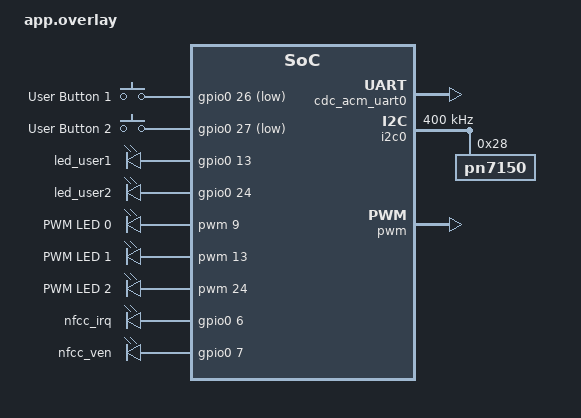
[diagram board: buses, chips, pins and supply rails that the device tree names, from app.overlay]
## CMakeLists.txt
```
cmake_minimum_required(VERSION 3.22)
set(BOARD rpi_pico)

find_package(Zephyr REQUIRED HINTS $ENV{ZEPHYR_BASE})
project(nci-zephyr)

target_include_directories(app PRIVATE src/)
target_sources(app PRIVATE src/main.cpp src/util.cpp src/nci.cpp src/example-nci.cpp src/dep.cpp src/iso-dep.cpp)
```

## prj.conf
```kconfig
CONFIG_CPP=y
CONFIG_GLIBCXX_LIBCPP=y

CONFIG_HEAP_MEM_POOL_SIZE=4096
#CONFIG_ISR_STACK_SIZE=4096

CONFIG_LOG=y
CONFIG_BOOT_BANNER=y
CONFIG_LOG_PRINTK=y
CONFIG_LOG_MODE_IMMEDIATE=y

CONFIG_SERIAL=y
CONFIG_CONSOLE=y
CONFIG_UART_CONSOLE=y
CONFIG_UART_LINE_CTRL=y
CONFIG_UART_INTERRUPT_DRIVEN=y
CONFIG_STDOUT_CONSOLE=y
CONFIG_USB_DRIVER_LOG_LEVEL_ERR=y
CONFIG_USB_DEVICE_LOG_LEVEL_ERR=y
CONFIG_USB_CDC_ACM=y
CONFIG_USB_DEVICE_INITIALIZE_AT_BOOT=n

CONFIG_GPIO=y
CONFIG_PWM=y
CONFIG_I2C=y
CONFIG_ASSERT=y
CONFIG_RING_BUFFER=y # <- going to maybe use this later

CONFIG_USB_DEVICE_VID=0x1337
CONFIG_USB_DEVICE_PID=0x37c3
CONFIG_USB_DEVICE_STACK=y
CONFIG_USB_DEVICE_PRODUCT="BornHack2023 Badge Reader"


CONFIG_BUILD_OUTPUT_UF2=y
#CONFIG_NO_OPTIMIZATIONS=y
CONFIG_DEBUG_OPTIMIZATIONS=y

CONFIG_USE_DT_CODE_PARTITION=y
CONFIG_RESET=y
```

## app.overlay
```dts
/ {
    chosen {
        zephyr,console = &cdc_acm_uart0;
    };

    gpio_keys {
        compatible = "gpio-keys";
        btn_user1: btn_user1 {
            label = "User Button 1";
            gpios = <&gpio0 26 (GPIO_ACTIVE_LOW | GPIO_PULL_UP)>;
        };
        btn_user2: btn_user2 {
            label = "User Button 2";
            gpios = <&gpio0 27 (GPIO_ACTIVE_LOW | GPIO_PULL_UP)>;
        };
    };

    gpio_leds {
        compatible = "gpio-leds";
        led_user1: led_user1 {
            gpios = <&gpio0 13 GPIO_ACTIVE_HIGH>;
        };
        led_user2: led_user2 {
            gpios = <&gpio0 24 GPIO_ACTIVE_HIGH>;
        };
    };
    
    pwm_leds {
		compatible = "pwm-leds";
		status = "okay";
		pwm_led0: pwm_led_0 {
	        status = "okay";
            label = "PWM LED 0";
			pwms = <&pwm 9 PWM_MSEC(20) PWM_POLARITY_NORMAL>;
		};
		pwm_led1: pwm_led_1 {
	        status = "okay";
            label = "PWM LED 1";
			pwms = <&pwm 13 PWM_MSEC(20) PWM_POLARITY_NORMAL>;
		};
		pwm_led2: pwm_led_2 {
	        status = "okay";
            label = "PWM LED 2";
			pwms = <&pwm 24 PWM_MSEC(20) PWM_POLARITY_NORMAL>;
		};
	};

    gpio_nfcc {
        compatible = "gpio-leds";
        nfcc_irq: nfcc_irq {
            gpios = <&gpio0 6 (GPIO_ACTIVE_HIGH | GPIO_PULL_DOWN)>;
        };
       
        nfcc_ven: nfcc_ven {
            gpios = <&gpio0 7 GPIO_ACTIVE_HIGH>;
        };
    };
};

&pwm_led0 {
    status = "okay";
};

&zephyr_udc0 {
    cdc_acm_uart0: cdc_acm_uart0 {
    	compatible = "zephyr,cdc-acm-uart";
        label = "CDC_ACM_0";
    };
};

&i2c0 {
    compatible = "raspberrypi,pico-i2c", "snps,designware-i2c";

    pinctrl-0 = <&i2c0_default>; 
	status = "okay";
    clock-frequency = <I2C_BITRATE_FAST>;

    pn7150: pn7150@28 {
        reg = <0x28>;
    };
};

&pwm {
	status = "okay";
	divider-frac-4 = <15>;
	divider-int-4 = <255>;
};

// found this on stack overflow, refers to somthing that sounds similar to my problem
&sram0 {
    /delete-property/ compatible ;
    /delete-property/ reg ;
    compatible = "zephyr,memory-region", "mmio-sram";
    zephyr,memory-region = "RAM_EXECUTABLE";
    zephyr,memory-region-mpu = "RAM";
    reg = < 0x20000000 0x10000 >; //Configure SRAM for MCUboot fixed for MPU
    // RAM size has to match with BOOTLOADER_SRAM_SIZE (see menuconfig)
};
```

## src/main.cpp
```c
#include <string.h>
#include <zephyr/device.h>
#include <zephyr/devicetree.h>
#include <zephyr/drivers/gpio.h>
#include <zephyr/drivers/i2c.h>
#include <zephyr/drivers/pwm.h>
#include <zephyr/drivers/uart.h>
#include <zephyr/kernel.h>
#include <zephyr/sys/util.h>
#include <zephyr/usb/usb_device.h>

#include "config.h"
#include "example-nci.hpp"
#include "util.hpp"

static const struct gpio_dt_spec btn_user1 = GPIO_DT_SPEC_GET(DT_NODELABEL(btn_user1), gpios);
static const struct gpio_dt_spec btn_user2 = GPIO_DT_SPEC_GET(DT_NODELABEL(btn_user2), gpios);

static const struct pwm_dt_spec pwm_led_user0 = PWM_DT_SPEC_GET(DT_NODELABEL(pwm_led0));
static const struct pwm_dt_spec pwm_led_user1 = PWM_DT_SPEC_GET(DT_NODELABEL(pwm_led1));
static const struct pwm_dt_spec pwm_led_user2 = PWM_DT_SPEC_GET(DT_NODELABEL(pwm_led2));

static const struct gpio_dt_spec led_user0 = GPIO_DT_SPEC_GET(DT_NODELABEL(led0), gpios);
static const struct gpio_dt_spec led_user1 = GPIO_DT_SPEC_GET(DT_NODELABEL(led_user1), gpios);
static const struct gpio_dt_spec led_user2 = GPIO_DT_SPEC_GET(DT_NODELABEL(led_user2), gpios);

static const struct gpio_dt_spec nfcc_ven = GPIO_DT_SPEC_GET(DT_NODELABEL(nfcc_ven), gpios);
static const struct gpio_dt_spec nfcc_irq = GPIO_DT_SPEC_GET(DT_NODELABEL(nfcc_irq), gpios);

static const struct device *i2c_dev = DEVICE_DT_GET(DT_NODELABEL(i2c0));
static const struct i2c_dt_spec pn7150_i2c = I2C_DT_SPEC_GET(DT_NODELABEL(pn7150));

static ExampleNci nci = ExampleNci(pn7150_i2c, nfcc_irq);

BUILD_ASSERT(DT_NODE_HAS_COMPAT(DT_CHOSEN(zephyr_console), zephyr_cdc_acm_uart), "Device is not ACM CDC UART device");

int serial_init() {
    /* Configure to set Console output to USB Serial */
    const struct device *usb_device = DEVICE_DT_GET(DT_CHOSEN(zephyr_console));
    uint32_t dtr = 0;

    /* Check if USB can be initialised, bails out if fail is returned */
    if (usb_enable(NULL) != 0) {
        return 1;
    }

    uart_line_ctrl_get(usb_device, UART_LINE_CTRL_DTR, &dtr);
#if WAIT_FOR_SERIAL
    // TODO for some reason, if I don't do this, during execution, stdout stops working and then, after a short moment, starts to work again, dropping some messages. No clue why... ._.
    while (!dtr) {
        uart_line_ctrl_get(usb_device, UART_LINE_CTRL_DTR, &dtr);
        k_msleep(100);
    }
#endif

    return 0;
}

void btn1_handler(const struct device *dev, struct gpio_callback *cb, uint32_t pins) {
    puts("User Button 1");
}

void btn2_handler(const struct device *dev, struct gpio_callback *cb, uint32_t pins) {
    puts("User Button 2");
}

void nfcc_irq_handler(const struct device *dev, struct gpio_callback *cb, uint32_t pins) {
    int irq_val = gpio_pin_get_dt(&nfcc_irq);

#if DEBUG_NFCC_IRQ
    printf("+++ IRQ=%i +++\n", irq_val);
#endif

    gpio_pin_set_dt(&led_user2, irq_val);
}

int main(void) {
    int ret = 0; // buffer for function return values

    ret = serial_init();
    if (ret != 0) {
        return ret;
    }

    // BEGIN Buttons

    ret = (!device_is_ready(btn_user1.port));
    if (ret) {
        puts("Could not get User Button 1.");
        return ret;
    } else {
        puts("Got User Button 1.");
    }

    ret = (!device_is_ready(btn_user2.port));
    if (ret) {
        puts("Could not get User Button 2.");
        return ret;
    } else {
        puts("Got User Button 2.");
    }

    ret = gpio_pin_configure_dt(&btn_user1, GPIO_INPUT | GPIO_PULL_UP);
    ret = gpio_pin_configure_dt(&btn_user2, GPIO_INPUT | GPIO_PULL_UP);
    // TODO handle errors here

    // END Buttons
    // BEGIN LEDs

    // ret = gpio_pin_configure(led_user0.port, led_user0.pin, GPIO_OUTPUT);
    ret = gpio_pin_configure(led_user1.port, led_user1.pin, GPIO_OUTPUT);
    ret = gpio_pin_configure(led_user2.port, led_user2.pin, GPIO_OUTPUT);
    // TODO handle errors here

    ret = (!device_is_ready(led_user0.port));
    if (ret) {
        puts("Could not get User LED 0.");
        return ret;
    } else {
        puts("Got User LED 0.");
    }

    ret = (!device_is_ready(led_user1.port));
    if (ret) {
        puts("Could not get User LED 1.");
        return ret;
    } else {
        puts("Got User LED 1.");
    }

    ret = (!device_is_ready(led_user2.port));
    if (ret) {
        puts("Could not get User LED 2.");
        return ret;
    } else {
        puts("Got User LED 2.");
    }

    if (!pwm_is_ready_dt(&pwm_led_user0)) {
        printf("Error: PWM device %s is not ready\n", pwm_led_user0.dev->name);
        return 0;
    } else {
        puts("Got User LED 0 PWM.");
    }
    if (!pwm_is_ready_dt(&pwm_led_user1)) {
        printf("Error: PWM device %s is not ready\n", pwm_led_user1.dev->name);
        return 0;
    } else {
        puts("Got User LED 1 PWM.");
    }

    if (!pwm_is_ready_dt(&pwm_led_user2)) {
        printf("Error: PWM device %s is not ready\n", pwm_led_user2.dev->name);
        return 0;
    } else {
        puts("Got User LED 2 PWM.");
    }

    // END LEDs
    // BEGIN NFCC flags

    ret = (!device_is_ready(nfcc_ven.port));
    if (ret) {
        puts("Could not get NFCC's VEN.");
        return ret;
    } else {
        puts("Got NFCC's VEN.");
    }

    ret = (!device_is_ready(nfcc_irq.port));
    if (ret) {
        puts("Could not get NFCC's IRQ.");
        return ret;
    } else {
        puts("Got NFCC's IRQ.");
    }

    ret = gpio_pin_configure(nfcc_ven.port, nfcc_ven.pin, GPIO_OUTPUT);
    if (ret) {
        printf("Could not configure NFCC's VEN (%i).\n", ret);
        return ret;
    } else {
        puts("Set NFCC's VEN config.");
    }

    ret = gpio_pin_configure(nfcc_irq.port, nfcc_irq.pin, GPIO_INPUT | GPIO_PULL_DOWN);
    if (ret) {
        printf("Could not configure NFCC's IRQ (%i).\n", ret);
        return ret;
    } else {
        puts("Set NFCC's IRQ config.");
    }

    ret = gpio_pin_set_dt(&nfcc_ven, 1);
    if (ret) {
        printf("Could not set NFCC's VEN (%i).\n", ret);
        return ret;
    } else {
        puts("Set NFCC's VEN to ACTIVE.");
    }
    k_msleep(200);

    // END NFCC flags
    // BEGIN GPIO Interrupts

    struct gpio_callback irq_cb;
    gpio_pin_interrupt_configure_dt(&nfcc_irq, GPIO_INT_EDGE_BOTH);
    gpio_init_callback(&irq_cb, nfcc_irq_handler, BIT(nfcc_irq.pin));
    gpio_add_callback(nfcc_irq.port, &irq_cb);

    struct gpio_callback btn1_cb;
    gpio_pin_interrupt_configure_dt(&btn_user1, GPIO_INT_EDGE_BOTH);
    gpio_init_callback(&btn1_cb, btn1_handler, BIT(btn_user1.pin));
    gpio_add_callback(btn_user1.port, &btn1_cb);

    struct gpio_callback btn2_cb;
    gpio_pin_interrupt_configure_dt(&btn_user2, GPIO_INT_EDGE_BOTH);
    gpio_init_callback(&btn2_cb, btn2_handler, BIT(btn_user2.pin));
    gpio_add_callback(btn_user2.port, &btn2_cb);

    // END GPIO Interrupts
    // BEGIN I2C setup

    ret = (i2c_dev == NULL || !device_is_ready(i2c_dev));
    if (ret) {
        puts("Could not get I2C controller device.");
        return ret;
    } else {
        puts("Got I2C controller device.");
    }

    puts("Got PN7150 dt spec.");

    ret = i2c_is_ready_dt(&pn7150_i2c);
    if (ret) {
        puts("i2c_is_ready: true");
    } else {
        puts("i2c_is_ready: false");
        return 1;
    }

    uint32_t i2c_cfg = I2C_SPEED_SET(I2C_SPEED_FAST) | I2C_MODE_CONTROLLER;
    uint32_t i2c_cfg_tmp = 0;

    ret = i2c_configure(i2c_dev, i2c_cfg);
    if (ret) {
        printf("i2c_configure failed: %i\n", ret);
    } else {
        puts("I2C config set successfully.");
    }

    ret = i2c_get_config(i2c_dev, &i2c_cfg_tmp);
    if (ret == -88) {
        puts("Config get not supported. (ENOSYS returned)");
    } else if (ret) {
        printf("Could not get controller config. (%i)", ret);
        return ret;
    } else {
        if (i2c_cfg_tmp != i2c_cfg) {
            printf("Config was not set correctly.");
            hexdump("\nretreived: ", (uint8_t *)&i2c_cfg_tmp, 4);
            hexdump("\nintended: ", (uint8_t *)&i2c_cfg, 4);
            puts("");
            return 1;
        }
    }
    // END I2C setup
    // yippie, working i2c!

    nci.nfcc_setup();

    // nci.nfca_nfc_dep_setup();
    nci.nfca_iso_dep_setup();
    // nci.nfcb_iso_dep_setup();

    // TODO adjust dynamically based on period from dt
    uint32_t pwm_min_pulse = PWM_NSEC(5000);
    uint32_t pwm_max_pulse = PWM_MSEC(1);
    bool dir = true;
    uint32_t pulse = pwm_min_pulse;

    while (true) {
        pwm_set_pulse_dt(&pwm_led_user0, pulse);
        pulse = dir ? pulse / 1.02 : pulse * 1.02;
        if ((dir && pulse < pwm_min_pulse) || (!dir && pulse > pwm_max_pulse)) {
            dir = !dir;
        }

        k_msleep(10);

        if (gpio_pin_get_dt(&nfcc_irq)) {
            nci.nci_read();
        }
    }

    return 0;
}
```

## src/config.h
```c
#pragma once
#define WAIT_FOR_SERIAL 1
#define DEBUG_NFCC_IRQ 0
#define DEBUG_NCI_HEXDUMP 1
#define DEBUG_NCI_ANALYSIS 1
```

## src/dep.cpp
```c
#include "nci.hpp"
#include "dep.hpp"

Dep::Dep(Nci *nci) : nci(nci) {}
Dep::~Dep() {}
```

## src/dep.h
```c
#pragma once
#include "nci.h"

class Dep {
  public:
    Dep(const Nci &nci);
    virtual ~Dep();

    virtual int handle_package(const uint8_t *buf, size_t buf_len);
  protected:
    const Nci &nci;
}
```

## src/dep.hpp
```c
#pragma once

#include "nci.hpp"

// Theoretically it could be nice to also abstract away transport here
// but honestly I don't know if that's maybe a bit too much...
class Nci;
class Dep {
  public:
    Dep(Nci *nci);
    virtual ~Dep();

    virtual int handle_apdu(const uint8_t *buf, size_t buf_len) const = 0;
  protected:
    Nci *nci;
};
```

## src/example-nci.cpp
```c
#include <stdint.h>
#include <zephyr/drivers/gpio.h>
#include <zephyr/drivers/i2c.h>

#include "config.h"
#include "example-nci.hpp"
#include "nci.hpp"
#include "util.hpp"

ExampleNci::ExampleNci(const struct i2c_dt_spec i2c, const struct gpio_dt_spec irq) : i2c(i2c), irq(irq) {}
ExampleNci::~ExampleNci() {}

int ExampleNci::transport_read() {
    return i2c_read_dt(&this->i2c, &this->read_buf[0], this->read_buf_len);
}

// TODO fragment on output limit exceeded
int ExampleNci::transport_write(const uint8_t *buf, size_t buf_len) {
    return i2c_write_dt(&this->i2c, buf, buf_len);
}

bool ExampleNci::transport_ready_to_read() {
    return gpio_pin_get_dt(&irq) != 0;
}

int ExampleNci::nfca_iso_dep_setup() {
    // RF_DISCOVER_MAP_CMD 4 bytes, 1 mapping, 0x04: PROTOCOL_ISO_DEP, 0b10: map RF interface in listen mode,
    // 0x02: ISO-DEP RF Interface
    // -- according to chapter 7 in user manual
    const uint8_t rf_discover_map_cmd[] = {RF_CMD, RF_DISCOVER_MAP, 4, 1, RF_PROTO_ISO_DEP,
                                           0x02,   RF_INTF_ISO_DEP}; // 0x02 -> listen mode -> [NCI Table 51]
    nci_write_read(rf_discover_map_cmd);
    //TODO handle response

    uint8_t nfca_core_config[]={
        CORE_CMD, CORE_SET_CONFIG, 0, // NOTE: packet length is set dynamically!
        8, //
        CFG_LA_BIT_FRAME_SDD , 0x01, 0x08, //
        CFG_LA_PLATFORM_CONFIG, 0x01, 0x03, //
        CFG_LA_SEL_INFO, 0x01, 0x60, //
        //CFG_LB_SENSB_INFO, 0x01, 0x01,
        CFG_LA_NFCID1,7,0x13,0x37,0xc3,0xac,0xc0,0xff,0xee, //
        CFG_LI_A_BIT_RATE, 0x01, 0x00, //
        CFG_LI_A_HIST_BY, 0x09, 0x4d, 0x54, 0x43, 0x4f, 0x53, 0x73, 0x02, 0x02, 0x04, // NOTE: Copied from an example card for testing purposes, optional
        CFG_RF_FIELD_INFO, 0x01, 0x01, //
        CFG_RF_NFCEE_ACTION , 0x01, 0x01, //
    };
    nfca_core_config[2] = sizeof(nfca_core_config) - 3;
    nci_write_read(nfca_core_config);
    
    uint8_t nfca_routing_table[] = {
        RF_CMD, RF_SET_LISTEN_MODE_ROUTING, 0, 0x00, // NOTE: packet length is set dynamically!
        1, //
        // 0x02,0x0a,0x00,0x3f,0x07,0xd2,0x76,0x00,0x00,0x85,0x01,0x01, // Route: DH, Power state: all on (NOTE not sure if that's sensible), AID: 0xD2760000850101 (which stands for mapping version 2.0 NDEF Tag application)
        0x01,3,0x00,0x3f, RF_PROTO_ISO_DEP, // Proto: ISO-DEP -> DH
        // 0x00,3,0x00,0x3f, NFC_RF_TECHNOLOGY_A, // Techno: NFC-A -> DH 
    };
    nfca_routing_table[2] = sizeof(nfca_routing_table) - 3;
    nci_write_read(nfca_routing_table);
    // TODO handle response

    const uint8_t nfca_rf_discover_cmd[] = {RF_CMD, RF_DISCOVER, 3, 1, NFC_A_PASSIVE_LISTEN_MODE, 0x01};
    nci_write_read(nfca_rf_discover_cmd);
    // TODO handle response
    
    return 0;
}

int ExampleNci::nfca_nfc_dep_setup() {
    const uint8_t rf_discover_map_cmd[] = {RF_CMD, RF_DISCOVER_MAP, 4, 1, RF_PROTO_NFC_DEP,
                                           0x02,   RF_INTF_NFC_DEP}; // 0x02 -> listen mode -> [NCI Table 51]
    nci_write_read(rf_discover_map_cmd);
    //TODO handle response

    uint8_t nfca_core_config[] = {
        CORE_CMD, CORE_SET_CONFIG, 0, // NOTE: packet length is set dynamically!
        9,                            // number of config entries
        CFG_LA_BIT_FRAME_SDD,1,0x00, // LA_BIT_FRAME_SDD - 4 Byte ID1, 00000b 
        CFG_LA_PLATFORM_CONFIG,1,0x0c, // LA_PLATFORM_CONFIG - RFU part set to 0, rest set to 1100b 
        // Still don't know what that does but seems to kinda work in ISO-DEP
        CFG_LA_SEL_INFO,1,0x60, // 
        CFG_LA_NFCID1,7,0x13,0x37,0xc3,0xac,0xc0,0xff,0xee, //
        CFG_LN_WT,1,10, //
        CFG_LN_ATR_RES_GEN_BYTES,0, //
        CFG_LN_ATR_RES_CONFIG,1,0x30, //
        CFG_RF_FIELD_INFO,1,0x01, //
        CFG_RF_NFCEE_ACTION,1,0x01, //
    };
    nfca_core_config[2] = sizeof(nfca_core_config) - 3;
    nci_write_read(nfca_core_config);
    // TODO handle response

    uint8_t nfca_routing_table[] = {
        RF_CMD, RF_SET_LISTEN_MODE_ROUTING, 0, 0x00, // NOTE: packet length is set dynamically!
        1,
        // 0x02,0x0a,0x00,0x3f,0x07,0xd2,0x76,0x00,0x00,0x85,0x01,0x01, // Route: DH, Power state: all on (NOTE not sure if that's sensible), AID: 0xD2760000850101 (which stands for mapping version 2.0 NDEF Tag application)
        0x01,0x03,0x00,0x3f,RF_PROTO_NFC_DEP, //
        //0x00,0x03,0x00,0x3f,NFC_RF_TECHNOLOGY_A, // Techno: NFC-A 
    };
    nfca_routing_table[2] = sizeof(nfca_routing_table) - 3;
    nci_write_read(nfca_routing_table);
    // TODO handle response

    const uint8_t nfca_rf_discover_cmd[] = {RF_CMD, RF_DISCOVER, 3, 1, NFC_A_PASSIVE_LISTEN_MODE, 0x01};
    nci_write_read(nfca_rf_discover_cmd);
    // TODO handle response
    
    return 0;
}

int ExampleNci::nfcb_iso_dep_setup() {
    // RF_DISCOVER_MAP_CMD 4 bytes, 1 mapping, 0x04: PROTOCOL_ISO_DEP, 0b10: map RF interface in listen mode,
    // 0x02: ISO-DEP RF Interface
    // -- according to chapter 7 in user manual
    const uint8_t rf_discover_map_cmd[] = {RF_CMD, RF_DISCOVER_MAP, 4, 1, RF_PROTO_ISO_DEP,
                                           0x02,   RF_INTF_ISO_DEP}; // 0x02 -> listen mode -> [NCI Table 51]
    nci_write_read(rf_discover_map_cmd);
    // TODO handle response

    uint8_t nfcb_core_config[] = {
        CORE_CMD, CORE_SET_CONFIG, 0, // NOTE: packet length is set dynamically!
        3,                            // number of config entries
        // CFG_LB_SENS_INFO, 0x01, 0x00, // LB_SENSB_INFO - no support for both
        CFG_LB_NFCID0, 4, 0x13, 0x37, 0x70, 0x07, // LB_NFCID0
        // CFG_LB_APPLICATION_DATA, 0x04, 0x00, 0x00, 0x00, 0x00, // LB_APPLICATION_DATA
        // CFG_LB_SFGI, 0x01, 0x00, // LB_SFGI - default value 0
        // CFG_LB_FWI_ADC_FO, 0x01, 0x05, // LB_FWI_ADC_FO - default value 0x05
        // CFG_LB_BIT_RATE, 1, NFC_BIT_RATE_6780,
        CFG_RF_FIELD_INFO,1,0x01, // for some reason I don't get data messages from my mobile with this enabled
        CFG_RF_NFCEE_ACTION,1,0x01,
    };
    nfcb_core_config[2] = sizeof(nfcb_core_config) - 3;
    nci_write_read(nfcb_core_config);
    // TODO handle response

    uint8_t nfcb_routing_table[] = {
        RF_CMD, RF_SET_LISTEN_MODE_ROUTING, 0, // NOTE: packet length is set dynamically!
        0x00,
        1, // number of table entries
        //0x02, 9, 0x00, 0x3f, 0xd2, 0x76, 0x00, 0x00, 0x85, 0x01, 0x01,
        // Route: DH, Power state: all on (NOTE not sure if that's sensible),
        // AID: 0xD2760000850101 (which stands for mapping version 2.0 NDEF Tag application)
        0x01, 3, 0x00, 0x3f, 0x04 // Proto: ISO-DEP
    };
    nfcb_routing_table[2] = sizeof(nfcb_routing_table) - 3;
    nci_write_read(nfcb_routing_table);
    // TODO handle response

    const uint8_t nfcb_rf_discover_cmd[] = {RF_CMD, RF_DISCOVER, 3, 1, NFC_B_PASSIVE_LISTEN_MODE, 0x01};
    nci_write_read(nfcb_rf_discover_cmd);
    // TODO handle response

    return 0;
}

int ExampleNci::nfcc_setup() {
    const uint8_t core_reset_cmd[] = {CORE_CMD, CORE_RESET, 1, 1}; // CORE_RESET_CMD(0x01), reset config
    nci_write_read(core_reset_cmd);
    // TODO handle response

    const uint8_t core_init_cmd[] = {CORE_CMD, 0x01, 0};
    nci_write_read(core_init_cmd);
    // TODO handle response

    const uint8_t prop_act_cmd[] = {MT_CMD | 0xf, 0x02, 0}; // gid 0x0f seems to be some proprietary thing I just stole from the micropython demo
    nci_write_read(prop_act_cmd);
    // TODO handle response
    return 0;
}
```

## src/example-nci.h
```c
#pragma once

#include "nci.h"

class ExampleNci : public Nci {
  public:
    ExampleNci(const struct i2c_dt_spec i2c, const struct gpio_dt_spec irq_gpio);
    ~ExampleNci();
    int nfca_iso_dep_setup();
    int nfca_nfc_dep_setup();
    int nfcb_iso_dep_setup();
    int nfcc_setup();

  private:
    const struct i2c_dt_spec i2c;
    const struct gpio_dt_spec irq;

    int transport_read();
    int transport_write(const uint8_t *buf, size_t buf_len);
    bool transport_ready_to_read();
};
```

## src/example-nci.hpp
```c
#pragma once

#include "nci.hpp"

class ExampleNci : public Nci {
  public:
    ExampleNci(const struct i2c_dt_spec i2c, const struct gpio_dt_spec irq_gpio);
    ~ExampleNci();
    int nfca_iso_dep_setup();
    int nfca_nfc_dep_setup();
    int nfcb_iso_dep_setup();
    int nfcc_setup();

  private:
    const struct i2c_dt_spec i2c;
    const struct gpio_dt_spec irq;

    int transport_read();
    int transport_write(const uint8_t *buf, size_t buf_len);
    bool transport_ready_to_read();
};
```

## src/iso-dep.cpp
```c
#include <string.h>
#include <zephyr/kernel.h>

#include "dep.hpp"
#include "iso-dep.hpp"
#include "util.hpp"

static const uint8_t AID_NDEF[] = {0xd2, 0x76, 0x00, 0x00, 0x85, 0x01, 0x01};
static const uint8_t FID_CC[] = {0xe1, 0x03};

IsoDep::IsoDep(Nci *nci) : Dep(nci) {}
IsoDep::~IsoDep() {}

// TODO / NOTE: Just blindly following t4top - there's probably huge potential for tag type specific abstraction
int IsoDep::handle_apdu(const uint8_t *buf, size_t buf_len) {
    // TODO / NOTE: assuming buf_len is in a valid range right now
    // TODO / NOTE: not supporting extended length fields.
    uint8_t cla = buf[0];
    uint8_t ins = buf[1];
    uint8_t p1 = buf[2];
    uint8_t p2 = buf[3];
    printf("CLA: 0x%02x, INS: 0x%02x, P1: 0x%02x, P2: 0x%02x\n", cla, ins, p1, p2);
    switch (cla) {
    case 0x00:
        switch (ins) {
        case APDU_INS_SELECT: {
            uint8_t lc = buf[4];
            const uint8_t *identifier = &buf[5];
            // TODO proper selection
            if (p2 == 0x00) {
                this->selected_application_len = lc;
                memcpy((void *)&selected_application, identifier, lc);
            } else if (p2 == 0x0c) {
                this->selected_ef_len = lc;
                memcpy((void *)&selected_ef, identifier, lc);
            }
            printf("SELECT (identifier=");
            hexdump(identifier, lc);
            printf(")\n");
            const uint8_t res[2] = {0x90, 0};
            this->nci->nci_send_data_msg(res, 2);
        } break; // TODO implement as specified (:
        case APDU_INS_READ_BINARY_b0: {
            // TODO / NOTE: AID currently ignored.
            uint16_t offset = (((uint16_t)p1) << 8) + p2; // TODO ignored right now
            uint8_t le = buf[4];
            printf("READ_BINARY (offset=%i; le=%i)\n", offset, le);
            if (this->selected_ef_len == 2 && memcmp(this->selected_ef, FID_CC, 2) == 0) {
                puts("[Capability container selected]");
                uint8_t res[17] = {
                    0x00, 0x0f, 0x20, 0x00, 0x3b, 0x00, 0x34, 0x04, 0x06,
                    0xe1, 0x04, 0x00, 0x32, 0x00, 0x00, 0x90, 0x00}; // NOTE: Example Capability Container
                                                                     // content from [T4TOP] Table 25
                this->nci->nci_send_data_msg(res, 17);
            } else {
                printf("[File selected: ");
                hexdump(this->selected_ef, this->selected_ef_len);
                puts("]");
                if (le == 2) {
                    uint8_t res[4] = {0x00, 0x20, 0x90, 0x00};
                    this->nci->nci_send_data_msg(res, 4);
                } else {
                    uint8_t res[34] = "\xd1\x01\x1c"
                                      "U\x04"
                                      "youtu.be/dQw4w9WgXcQ#      \x90";
                    this->nci->nci_send_data_msg(res, 34);
                }
            }
        } break; // TODO implement as specified 2.0 (:
        case APDU_INS_UPDATE_BINARY_d6: {
            uint16_t offset = (((uint16_t)p1) << 8) + p2; // TODO ignored right now
            uint8_t lc = buf[4];
            const uint8_t *data = &buf[5];
            printf("UPDATE_BINARY (offset=%i; lc=%i; data=", offset, lc);
            hexdump(data, lc);
            puts(")");
            const uint8_t res[2] = {0x90, 0};
            this->nci->nci_send_data_msg(res, 2);
        } break; // TODO implement as specified 3.0 ((:
        default:
            printf("Unsupported INS 0x%02x for CLA=0x%02x\n", ins, cla);
            uint8_t res[2] = {0x6d, 0};
            this->nci->nci_send_data_msg(res, 2);
            break;
        }
        break;
    case 0x90:
        switch (ins) {
        case 0x60: {
            puts("DESFire EV1 ID thingy I think");
            uint8_t res[9] = {1, 2, 3, 4, 5, 6, 7, 0x90, 0};
            this->nci->nci_send_data_msg(res, 9);
        } break;
        default:
            printf("Unsupported INS 0x%02x for CLA=0x%02x\n", ins, cla);
            uint8_t res[2] = {0x6d, 0};
            this->nci->nci_send_data_msg(res, 2);
            break;
        }
        break;
    default:
        printf("Unknown CLA=0x%02x", cla);
        uint8_t res[2] = {0x6e, 0};
        this->nci->nci_send_data_msg(res, 2);
        break;
    }
    return 0;
}
```

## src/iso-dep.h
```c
#pragma once
#include "dep.h"

// I feel like these defines are not really necessary for the most part but whatevs...
#define APDU_INS_DEACTIVATE_FILE 0x04
#define APDU_INS_DEACTIVATE_RECORD 0x06
#define APDU_INS_ACTIVATE_RECORD 0x08
#define APDU_INS_ERASE_RECORD 0x0c
#define APDU_INS_ERASE_BINARY_0e 0x0e
#define APDU_INS_ERASE_BINARY_0f 0x0f
#define APDU_INS_SCQL_OPERATIOIN 0x10
#define APDU_INS_TRANSACTION_OPERATION 0x12
#define APDU_INS_USER_OPERATION 0x14
#define APDU_INS_ADDITIONAL_DEVICE_MGMT_16 0x16
#define APDU_INS_ADDITIONAL_DEVICE_MGMT_17 0x17
#define APDU_INS_VERIFY_20 0x20
#define APDU_INS_VERIFY_21 0x21
#define APDU_INS_MANAGE_SECURITY_ENV 0x22
#define APDU_INS_CHANGE_REFERENCE_DATA_24 0x24
#define APDU_INS_CHANGE_REFERENCE_DATA_25 0x25
#define APDU_INS_DISABLE_VERIFICATION_REQUIREMENT 0x26
#define APDU_INS_ENABLE_VERIFICATION_REQUIREMENT 0x28
#define APDU_INS_SECURITY_OPERATION_2a 0x2a
#define APDU_INS_SECURITY_OPERATION_2b 0x2b
#define APDU_INS_RESET_RETRY_COUNTER_2c 0x2c
#define APDU_INS_RESET_RETRY_COUNTER_2d 0x2d
#define APDU_INS_BIOMETRIC_OPERATION_2e 0x2e
// biometric? whaat? TODO: read ISO/IEC 7816-11 about that
#define APDU_INS_BIOMETRIC_OPERATION_2f 0x2f
#define APDU_INS_COMPARE 0x33
#define APDU_INS_GET_ATTRIBUTE_34 0x34
#define APDU_INS_GET_ATTRIBUTE_35 0x35
#define APDU_INS_APPLICATION_MGMT_REQUEST_40 0x40
#define APDU_INS_APPLICATION_MGMT_REQUEST_41 0x41
#define APDU_INS_ACTIVATE_FILE 0x44
#define APDU_INS_GEN_ASYMMETRIC_KEY_PAIR_46 0x46
#define APDU_INS_GEN_ASYMMETRIC_KEY_PAIR_47 0x47
#define APDU_INS_IMPORT_CARD_SECRET 0x48
#define APDU_INS_MANAGE_CHANNEL 0x70
#define APDU_INS_EXT_AUTHENTICATE 0x82
#define APDU_INS_GET_CHALLENGE 0x84
#define APDU_INS_GENERAL_AUTH_86 0x86
#define APDU_INS_GENERAL_AUTH_87 0x87
#define APDU_INS_INTERNAL_AUTH 0x88
#define APDU_INS_SEARCH_BINARY_a0 0xa0
#define APDU_INS_SEARCH_BINARY_a1 0xa1
#define APDU_INS_SEARCH_RECORD 0xa2
#define APDU_INS_SELECT 0xa4
#define APDU_INS_SELECT_DATA 0xa5
#define APDU_INS_READ_BINARY_b0 0xb0
#define APDU_INS_READ_BINARY_b1 0xb1
#define APDU_INS_READ_RECORD_b2 0xb2
#define APDU_INS_READ_RECORD_b3 0xb3
#define APDU_INS_GET_RESPONSE 0xc0
#define APDU_INS_ENVELOPE_c2 0xc2
#define APDU_INS_ENVELOPE_c3 0xc3
#define APDU_INS_GET_DATA_ca 0xca
#define APDU_INS_GET_DATA_cb 0xcb
#define APDU_INS_GET_NEXT_DATA_cc 0xcc
#define APDU_INS_GET_NEXT_DATA_cd 0xcd
#define APDU_INS_MANAGE_DATA 0xcf
#define APDU_INS_WRITE_BINARY_d0 0xd0
#define APDU_INS_WRITE_BINARY_d1 0xd1
#define APDU_INS_WRITE_RECORD 0xd2
#define APDU_INS_UPDATE_BINARY_d6 0xd6 
#define APDU_INS_UPDATE_BINARY_d7 0xd7 
#define APDU_INS_PUT_NEXT_DATA_d8 0xd8
#define APDU_INS_PUT_NEXT_DATA_d9 0xd9
#define APDU_INS_PUT_DATA_da 0xda
#define APDU_INS_PUT_DATA_db 0xdb
#define APDU_INS_UPDATE_RECORD_dc 0xdc
#define APDU_INS_UPDATE_RECORD_dd 0xdd
#define APDU_INS_UPDATE_DATA_de 0xde
#define APDU_INS_UPDATE_DATA_df 0xdf
#define APDU_INS_CREATE_FILE 0xe0
#define APDU_INS_CREATE 0xe1
#define APDU_INS_APPEND_RECORD 0xe2
#define APDU_INS_DELETE_FILE 0xe4
#define APDU_INS_TERMINATE_DF 0xe6
#define APDU_INS_TERMINATE_EF 0xe8
#define APDU_INS_LOAD_APPLICATION_ea 0xea
#define APDU_INS_LOAD_APPLICATION_eb 0xeb
#define APDU_INS_DELETE_DATA 0xee
#define APDU_INS_REMOVE_APPLICATION_ec 0xec
#define APDU_INS_REMOVE_APPLICATION_ed 0xed
#define APDU_INS_TERMINATE_CARD_USAGE 0xfe

// Theoretically it could be nice to also abstract away transport here
// but honestly I don't know if that's maybe a bit too much...
class IsoDep : Dep {
  public:
    IsoDep(const Nci &nci);
    virtual ~IsoDep();

    int handle_package(const uint8_t *buf, size_t buf_len);
};
```

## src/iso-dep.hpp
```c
#pragma once
#include "dep.hpp"

// I feel like these defines are not really necessary for the most part but whatevs...
#define APDU_INS_DEACTIVATE_FILE 0x04
#define APDU_INS_DEACTIVATE_RECORD 0x06
#define APDU_INS_ACTIVATE_RECORD 0x08
#define APDU_INS_ERASE_RECORD 0x0c
#define APDU_INS_ERASE_BINARY_0e 0x0e
#define APDU_INS_ERASE_BINARY_0f 0x0f
#define APDU_INS_SCQL_OPERATIOIN 0x10
#define APDU_INS_TRANSACTION_OPERATION 0x12
#define APDU_INS_USER_OPERATION 0x14
#define APDU_INS_ADDITIONAL_DEVICE_MGMT_16 0x16
#define APDU_INS_ADDITIONAL_DEVICE_MGMT_17 0x17
#define APDU_INS_VERIFY_20 0x20
#define APDU_INS_VERIFY_21 0x21
#define APDU_INS_MANAGE_SECURITY_ENV 0x22
#define APDU_INS_CHANGE_REFERENCE_DATA_24 0x24
#define APDU_INS_CHANGE_REFERENCE_DATA_25 0x25
#define APDU_INS_DISABLE_VERIFICATION_REQUIREMENT 0x26
#define APDU_INS_ENABLE_VERIFICATION_REQUIREMENT 0x28
#define APDU_INS_SECURITY_OPERATION_2a 0x2a
#define APDU_INS_SECURITY_OPERATION_2b 0x2b
#define APDU_INS_RESET_RETRY_COUNTER_2c 0x2c
#define APDU_INS_RESET_RETRY_COUNTER_2d 0x2d
#define APDU_INS_BIOMETRIC_OPERATION_2e 0x2e
// biometric? whaat? TODO: read ISO/IEC 7816-11 about that
#define APDU_INS_BIOMETRIC_OPERATION_2f 0x2f
#define APDU_INS_COMPARE 0x33
#define APDU_INS_GET_ATTRIBUTE_34 0x34
#define APDU_INS_GET_ATTRIBUTE_35 0x35
#define APDU_INS_APPLICATION_MGMT_REQUEST_40 0x40
#define APDU_INS_APPLICATION_MGMT_REQUEST_41 0x41
#define APDU_INS_ACTIVATE_FILE 0x44
#define APDU_INS_GEN_ASYMMETRIC_KEY_PAIR_46 0x46
#define APDU_INS_GEN_ASYMMETRIC_KEY_PAIR_47 0x47
#define APDU_INS_IMPORT_CARD_SECRET 0x48
#define APDU_INS_MANAGE_CHANNEL 0x70
#define APDU_INS_EXT_AUTHENTICATE 0x82
#define APDU_INS_GET_CHALLENGE 0x84
#define APDU_INS_GENERAL_AUTH_86 0x86
#define APDU_INS_GENERAL_AUTH_87 0x87
#define APDU_INS_INTERNAL_AUTH 0x88
#define APDU_INS_SEARCH_BINARY_a0 0xa0
#define APDU_INS_SEARCH_BINARY_a1 0xa1
#define APDU_INS_SEARCH_RECORD 0xa2
#define APDU_INS_SELECT 0xa4
#define APDU_INS_SELECT_DATA 0xa5
#define APDU_INS_READ_BINARY_b0 0xb0
#define APDU_INS_READ_BINARY_b1 0xb1
#define APDU_INS_READ_RECORD_b2 0xb2
#define APDU_INS_READ_RECORD_b3 0xb3
#define APDU_INS_GET_RESPONSE 0xc0
#define APDU_INS_ENVELOPE_c2 0xc2
#define APDU_INS_ENVELOPE_c3 0xc3
#define APDU_INS_GET_DATA_ca 0xca
#define APDU_INS_GET_DATA_cb 0xcb
#define APDU_INS_GET_NEXT_DATA_cc 0xcc
#define APDU_INS_GET_NEXT_DATA_cd 0xcd
#define APDU_INS_MANAGE_DATA 0xcf
#define APDU_INS_WRITE_BINARY_d0 0xd0
#define APDU_INS_WRITE_BINARY_d1 0xd1
#define APDU_INS_WRITE_RECORD 0xd2
#define APDU_INS_UPDATE_BINARY_d6 0xd6
#define APDU_INS_UPDATE_BINARY_d7 0xd7
#define APDU_INS_PUT_NEXT_DATA_d8 0xd8
#define APDU_INS_PUT_NEXT_DATA_d9 0xd9
#define APDU_INS_PUT_DATA_da 0xda
#define APDU_INS_PUT_DATA_db 0xdb
#define APDU_INS_UPDATE_RECORD_dc 0xdc
#define APDU_INS_UPDATE_RECORD_dd 0xdd
#define APDU_INS_UPDATE_DATA_de 0xde
#define APDU_INS_UPDATE_DATA_df 0xdf
#define APDU_INS_CREATE_FILE 0xe0
#define APDU_INS_CREATE 0xe1
#define APDU_INS_APPEND_RECORD 0xe2
#define APDU_INS_DELETE_FILE 0xe4
#define APDU_INS_TERMINATE_DF 0xe6
#define APDU_INS_TERMINATE_EF 0xe8
#define APDU_INS_LOAD_APPLICATION_ea 0xea
#define APDU_INS_LOAD_APPLICATION_eb 0xeb
#define APDU_INS_DELETE_DATA 0xee
#define APDU_INS_REMOVE_APPLICATION_ec 0xec
#define APDU_INS_REMOVE_APPLICATION_ed 0xed
#define APDU_INS_TERMINATE_CARD_USAGE 0xfe

// Theoretically it could be nice to also abstract away transport here
// but honestly I don't know if that's maybe a bit too much...
class IsoDep : public Dep {
  public:
    IsoDep(Nci *nci);
    ~IsoDep();

    int handle_apdu(const uint8_t *buf, size_t buf_len);

    uint8_t selected_application[32];
    uint8_t selected_ef[32];

    uint8_t selected_application_len = 0;
    uint8_t selected_ef_len = 0;
};
```

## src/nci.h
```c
#pragma once
#include <zephyr/drivers/gpio.h>
#include <zephyr/drivers/i2c.h>

// [NCI Table 2] Message Types
#define MT_DATA 0 << 5
#define MT_CMD 1 << 5
#define MT_RSP 2 << 5
#define MT_NTF 3 << 5

// [NCI Table 140] Status Codes
#define STATUS_OK 0
#define STATUS_REJECTED 1
#define STATUS_FAILED 3
#define STATUS_NOT_INITIALIZED 4
#define STATUS_SYNTAX_ERROR 5
#define STATUS_SEMANTIC_ERROR 6
#define STATUS_INVALID_PARAM 9
#define STATUS_MESSAGE_SIZE_EXCEEDED 0xa
#define STATUS_OK_1_BIT 0x11
#define STATUS_OK_2_BIT 0x12
#define STATUS_OK_3_BIT 0x13
#define STATUS_OK_4_BIT 0x14
#define STATUS_OK_5_BIT 0x15
#define STATUS_OK_6_BIT 0x16
#define STATUS_OK_7_BIT 0x17

#define STATUS_DISCOVERY_ALREADY_STARTED 0xa0
#define STATUS_DISCOVERY_TARGET_ACTIVATION_FAILED 0xa1
#define STATUS_DISCOVERY_TEAR_DOWN 0xa2

#define STATUS_RF_FRAME_CORRUPTED 2
#define STATUS_RF_TRANSMISSION_EXCEPTION 0xb0
#define STATUS_RF_PROTOCOL_EXCEPTION 0xb1
#define STATUS_RF_TIMEOUT_EXCEPTION 0xb2
#define STATUS_RF_UNEXPECTED_DATA 0xb3

#define STATUS_NFCEE_INTERFACE_ACTIVATION_FAILED 0xc0
#define STATUS_NFCEE_TRANSMISSION_ERROR 0xc1
#define STATUS_NFCEE_PROTOCOL_ERROR 0xc2
#define STATUS_NFCEE_TIMEOUT_ERROR 0xc3

// [NCI Table 141] RF Technologies
#define NFC_RF_TECHNOLOGY_A 0
#define NFC_RF_TECHNOLOGY_B 1
#define NFC_RF_TECHNOLOGY_F 2
#define NFC_RF_TECHNOLOGY_V 3

// [NCI Table 142] RF Technology and Mode
#define NFC_A_PASSIVE_POLL_MODE 0
#define NFC_B_PASSIVE_POLL_MODE 1
#define NFC_F_PASSIVE_POLL_MODE 2
#define NFC_ACTIVE_POLL_MODE 3
#define NFC_V_PASSIVE_POLL_MODE 6
#define NFC_A_PASSIVE_LISTEN_MODE 0x80
#define NFC_B_PASSIVE_LISTEN_MODE 0x81
#define NFC_F_PASSIVE_LISTEN_MODE 0x82
#define NFC_ACTIVE_LISTEN_MODE 0x83

// [NCI Table 143] Bit Rates
#define NFC_BIT_RATE_106 0
#define NFC_BIT_RATE_212 1
#define NFC_BIT_RATE_424 2
#define NFC_BIT_RATE_848 3
#define NFC_BIT_RATE_1695 4
#define NFC_BIT_RATE_3390 5
#define NFC_BIT_RATE_6780 6
#define NFC_BIT_RATE_26 0x20

// [NCI Table 144] RF Protocols
#define RF_PROTO_UNDETERMINED 0
#define RF_PROTO_T1T_DEPRECATED 1
#define RF_PROTO_T2T 2
#define RF_PROTO_T3T 3
#define RF_PROTO_ISO_DEP 4
#define RF_PROTO_NFC_DEP 5
#define RF_PROTO_T5T 6
#define RF_PROTO_NDEF 7
#define RF_PROTO_WLC 8

// [NCI Table 145] RF Interfaces
#define RF_INTF_NFCEE_DIRECT 0
#define RF_INTF_FRAME 1
#define RF_INTF_ISO_DEP 2
#define RF_INTF_NFC_DEP 3
#define RF_INTF_NDEF 6
#define RF_INTF_WLC_P_AUTONOMOUS 7

// [NCI Table 149] Configuration Parameter Tags
#define CFG_TOTAL_DURATION 0
#define CFG_CON_DISCOVERY_PARAM 2
#define CFG_POWER_STATE 3

#define CFG_PA_BAIL_OUT 8
#define CFG_PA_DEVICES_LIMIT 9

#define CFG_PB_AFI 0x10
#define CFG_PB_BAIL_OUT 0x11
#define CFG_PB_ATTRIB_PARAM1 0x12
#define CFG_PB_SENSB_REQ_PARAM 0x13
#define CFG_PB_DEVICES_LIMIT 0x14

#define CFG_PF_BIT_RATE 0x18
#define CFG_PF_BAIL_OUT 0x19
#define CFG_PF_DEVICES_LIMIT 0x1a

#define CFG_PI_B_H_INFO 0x20
#define CFG_PI_BIT_RATE 0x21

#define CFG_PN_NFC_DEP_PSL 0x28
#define CFG_PN_ATR_REQ_GEN_BYTES 0x29
#define CFG_PN_ATR_REQ_CONFIG 0x2a

#define CFG_PV_DEVICES_LIMIT 0x2f

#define CFG_LA_BIT_FRAME_SDD 0x30
#define CFG_LA_PLATFORM_CONFIG 0x31
#define CFG_LA_SEL_INFO 0x32
#define CFG_LA_NFCID1 0x33

#define CFG_LB_SENSB_INFO 0x38
#define CFG_LB_NFCID0 0x39
#define CFG_LB_APPLICATION_DATA 0x3a
#define CFG_LB_SFGI 0x3b
#define CFG_LB_FWI_ADC_FO 0x3c
#define CFG_LB_BIT_RATE 0x3e

#define CFG_LF_T3T_IDENTIFIERS_1 0x40
#define CFG_LF_T3T_IDENTIFIERS_2 0x41
#define CFG_LF_T3T_IDENTIFIERS_3 0x42
#define CFG_LF_T3T_IDENTIFIERS_4 0x43
#define CFG_LF_T3T_IDENTIFIERS_5 0x44
#define CFG_LF_T3T_IDENTIFIERS_6 0x45
#define CFG_LF_T3T_IDENTIFIERS_7 0x46
#define CFG_LF_T3T_IDENTIFIERS_8 0x47
#define CFG_LF_T3T_IDENTIFIERS_9 0x48
#define CFG_LF_T3T_IDENTIFIERS_10 0x49
#define CFG_LF_T3T_IDENTIFIERS_11 0x4a
#define CFG_LF_T3T_IDENTIFIERS_12 0x4b
#define CFG_LF_T3T_IDENTIFIERS_13 0x4c
#define CFG_LF_T3T_IDENTIFIERS_14 0x4d
#define CFG_LF_T3T_IDENTIFIERS_15 0x4e
#define CFG_LF_T3T_IDENTIFIERS_16 0x4f
#define CFG_LF_T3T_MAX 0x52
#define CFG_LF_T3T_FLAGS 0x53
#define CFG_LF_T3T_RD_ALLOWED 0x55
#define CFG_LF_PROTOCOL_TYPE 0x50

#define CFG_LI_A_RATS_TBI 0x58
#define CFG_LI_A_HIST_BY 0x59
#define CFG_LI_B_H_INFO_RESP 0x5a
#define CFG_LI_A_BIT_RATE 0x5b
#define CFG_LI_A_RATS_TC1 0x5c

#define CFG_LN_WT 0x60
#define CFG_LN_ATR_RES_GEN_BYTES 0x61
#define CFG_LN_ATR_RES_CONFIG 0x62

#define CFG_PACM_BIT_RATE 0x68

#define CFG_WLC_P_CAP_POWER_CLASS 0x69 // heh
#define CFG_TOT_POWER_STEPS 0x6a
#define CFG_WLC_AUTO_CAPABILITIES 0x6b

#define CFG_RF_FIELD_INFO 0x80
#define CFG_RF_NFCEE_ACTION 0x81
#define CFG_NFCDEP_OP 0x82
#define CFG_LLCP_VERSION 0x83
#define CFG_NFCC_CONFIG_CONTROL 0x85
#define CFG_RF_WLC_STATUS_CONFIG 0x86

// [NCI Table 150] GID and OID Definitions
#define CMD_GID_CORE 0
#define CMD_GID_RF 1
#define CMD_GID_NFCEE_MGMT 2
#define CMD_GID_NFCC_MGMT 3
#define CMD_GID_TEST_MGMT 4

#define CORE_RESET 0
#define CORE_INIT 1
#define CORE_SET_CONFIG 2
#define CORE_GET_CONFIG 3
#define CORE_CONN_CREATE 4
#define CORE_CONN_CLOSE 5
#define CORE_CONN_CREDITS 6
#define CORE_GENERIC_ERROR 7
#define CORE_INTERFACE_ERROR 8
#define CORE_SET_POWER_SUB_STATE 9

#define RF_DISCOVER_MAP 0
#define RF_SET_LISTEN_MODE_ROUTING 1
#define RF_GET_LISTEN_MODE_ROUTING 2
#define RF_DISCOVER 3
#define RF_DISCOVER_SELECT 4
#define RF_INTF_ACTIVATED 5
#define RF_DEACTIVATE 6
#define RF_FIELD_INFO 7
#define RF_T3T_POLLING 8
#define RF_NFCEE_ACTION 9
#define RF_NFCEE_DISCOVERY_REQ 10
#define RF_PARAMETER_UPDATE 11
#define RF_INTF_EXT_START 12
#define RF_INTF_EXT_STOP 13
#define RF_EXT_AGG_ABORT 14
#define RF_NDEF_ABORT 15
#define RF_ISO_DEP_NAK_PRESENCE 16
#define RF_SET_FORCED_NFCEE_ROUTING 17
#define RF_REMOVAL_DETECTION 18
#define RF_WLC_STATUS 19
#define GET_WLCP_INFO_PARAM 20
#define WPT_START 21

#define NFCEE_DISCOVER 0
#define NFCEE_MODE_SET 1
#define NFCEE_STATUS 2
#define NFCEE_POWER_AND_LINK_CNTRL 3

// some shortcuts for utility
#define CORE_CMD MT_CMD | CMD_GID_CORE
#define CORE_RSP MT_RSP | CMD_GID_CORE
#define CORE_NTF MT_NTF | CMD_GID_CORE

#define RF_CMD MT_CMD | CMD_GID_RF
#define RF_RSP MT_RSP | CMD_GID_RF
#define RF_NTF MT_NTF | CMD_GID_RF

#define NFCEE_CMD MT_CMD | CMD_GID_NFCEE_MGMT
#define NFCEE_RSP MT_RSP | CMD_GID_NFCEE_MGMT
#define NFCEE_NTF MT_NTF | CMD_GID_NFCEE_MGMT

enum rf_state {
    rfst_idle,
    rfst_discovery,
    rfst_listen_active,
    rfst_listen_sleep,
    rfst_poll_removal_detection,
    rfst_poll_active,
    rfst_w4_all_discoveries,
    rfst_w4_host_select
};

class Nci {
  public:
    Nci();
    virtual ~Nci();

    int nci_read();
    int nci_write(const uint8_t *cmd);
    int nci_write_read(const uint8_t *cmd);
    void nci_debug(const uint8_t *msg_buf);

  protected:
    // reads max. read_buf_len to read_buf
    virtual int transport_read() = 0;
    // writes buf to transport
    virtual int transport_write(const uint8_t *buf, size_t buf_len) = 0;
    // indicates readyness to read from transport
    virtual bool transport_ready_to_read() = 0;

    uint8_t read_buf[255] = {0};
    size_t read_buf_len = 255;

    struct nci_control_msg nci_parse_control_msg_standalone(const uint8_t *msg_buf);
    struct nci_data_msg nci_parse_data_msg_standalone(const uint8_t *msg_buf);

    void update_rf_state(const struct nci_control_msg &msg);
    rf_state state;
    uint8_t rf_intf;
    uint8_t rf_techno_mode;
    uint8_t discovery_id;
    uint8_t max_data_payload_size;
    uint8_t credits;
};

// returns the expected overall length of an NCI packet according to packet header
size_t expected_packet_length(const uint8_t *packet);
```
